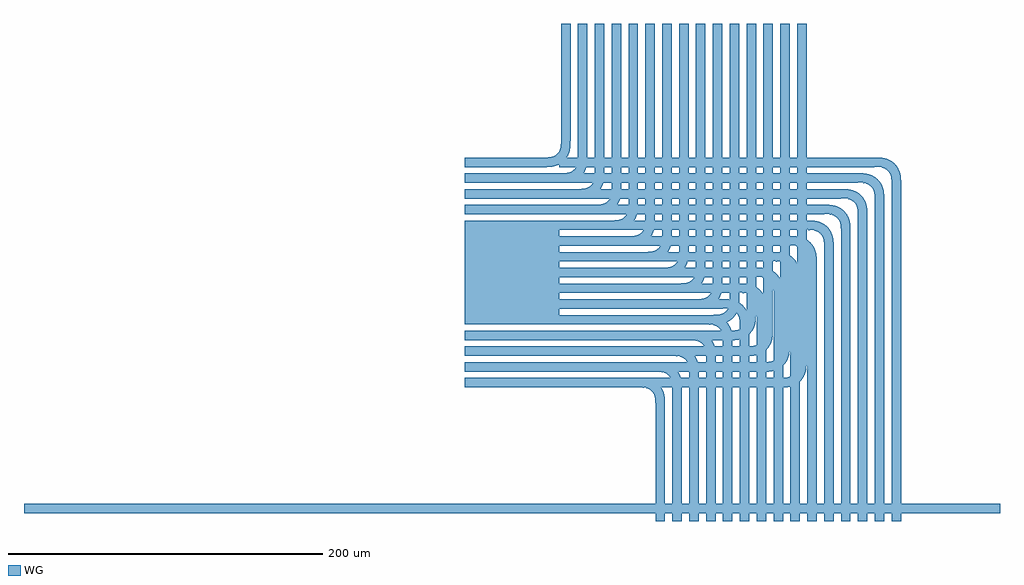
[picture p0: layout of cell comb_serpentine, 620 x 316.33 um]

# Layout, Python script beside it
import numpy as np
import gdsfactory as gf

gf.gpdk.PDK.activate()

LAYER = (1, 0)

@gf.cell
def comb_serpentine() -> gf.Component:
    """Horizontal comb fanout from center pad into bottom rail."""
    c = gf.Component()

    trace_width = 6.0
    center_pad_size = 60.0
    num_fingers = 30
    finger_pitch = 10.0
    rail_y = -150.0
    pad_center_y = 0.0
    min_finger_length = 50.0
    max_finger_length = 200.0
    bend_radius = 10.0

    # Center pad
    pad = gf.components.rectangle(
        size=(center_pad_size, center_pad_size), layer=LAYER, centered=True,
    )
    pad_ref = c.add_ref(pad)
    pad_ref.dmove((0, pad_center_y))

    # Bottom rail
    rail_length = 2 * (max_finger_length + center_pad_size / 2 + 80.0)
    rail = gf.components.rectangle(
        size=(rail_length, trace_width), layer=LAYER, centered=True,
    )
    rail_ref = c.add_ref(rail)
    rail_ref.dmove((0, rail_y))

    # Fingers
    per_side = max(1, num_fingers // 2)
    y_start = pad_center_y - ((per_side - 1) * finger_pitch) / 2
    y_coords = [y_start + i * finger_pitch for i in range(per_side)]
    lengths = np.linspace(min_finger_length, max_finger_length, per_side)

    for y_local, finger_length in zip(y_coords, lengths, strict=False):
        vertical_drop = max(10.0, y_local - rail_y - trace_width)

        p = gf.path.Path()
        p.append(gf.path.straight(finger_length))
        p.append(gf.path.euler(radius=bend_radius, angle=-90))
        p.append(gf.path.straight(vertical_drop))

        # Right finger
        right = gf.path.extrude(p, width=trace_width, layer=LAYER)
        right_ref = c.add_ref(right)
        right_ref.dmove((center_pad_size / 2, y_local))

        # Left finger (mirrored)
        left = gf.path.extrude(p, width=trace_width, layer=LAYER)
        left_ref = c.add_ref(left)
        left_ref.dmove((-center_pad_size / 2, y_local))
        left_ref.mirror_y()

    return c

if __name__ == "__main__":
    c = comb_serpentine()
    c.write_gds("comb_serpentine.gds")
    c.write("comb_serpentine.oas")
